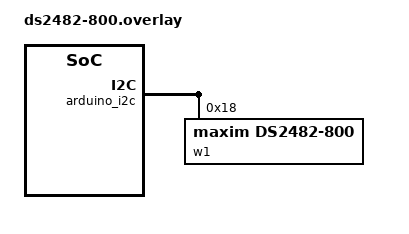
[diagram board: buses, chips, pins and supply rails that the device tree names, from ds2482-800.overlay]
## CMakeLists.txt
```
cmake_minimum_required(VERSION 3.20.0)
find_package(Zephyr REQUIRED HINTS $ENV{ZEPHYR_BASE})
project(scanner)

target_sources(app PRIVATE src/main.c)
```

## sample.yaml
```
sample:
  name: 1-Wire scanner sample

common:
  harness: console

tests:
  sample.drivers.w1.scanner.ds2482-800:
    depends_on: arduino_i2c
    extra_args: DTC_OVERLAY_FILE=ds2482-800.overlay
    platform_allow: nrf52840dk_nrf52840
    harness_config:
      type: one_line
      regex:
        - "Number of devices found on bus: .*"
      fixture: w1_scanner_ds2482_800
  sample.drivers.w1.scanner.ds2484:
    depends_on: arduino_i2c
    extra_args: DTC_OVERLAY_FILE=ds2484.overlay
    platform_allow: nrf52840dk_nrf52840 nucleo_g0b1re
    harness_config:
      type: one_line
      regex:
        - "Number of devices found on bus: .*"
      fixture: w1_scanner_ds2484
  samples.drivers.w1.scanner.ds2485:
    depends_on: arduino_i2c
    extra_args: DTC_OVERLAY_FILE=ds2485.overlay
    platform_allow: nrf52840dk_nrf52840 nucleo_g0b1re
    harness_config:
      type: one_line
      regex:
        - "Number of devices found on bus: .*"
      fixture: w1_scanner_ds2485
  samples.drivers.w1.scanner.w1_serial:
    depends_on: arduino_serial
    extra_args: DTC_OVERLAY_FILE=w1_serial.overlay
    platform_allow: nrf52840dk_nrf52840 nucleo_g0b1re
    harness_config:
      type: one_line
      regex:
        - "Number of devices found on bus: .*"
      fixture: w1_scanner_w1_serial
```

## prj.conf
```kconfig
# CONFIG_LOG=y
# CONFIG_W1=y
CONFIG_I2C=y
CONFIG_PRINTK=y
# CONFIG_I2C_LOG_LEVEL_OFF=y
```

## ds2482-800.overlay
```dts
&arduino_i2c {
	status = "okay";

	w1@18 {
		compatible = "maxim,ds2482-800";
		reg = <0x18>;

		#address-cells = <1>;
		#size-cells = <0>;

		w1: ch@0 {
			compatible = "maxim,ds2482-800-channel";
			reg = <0>;
		};
	};
};
```

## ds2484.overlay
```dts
&arduino_i2c {
	status = "okay";

	w1: w1@18 {
		compatible = "maxim,ds2484";
		reg = <0x18>;
	};
};
```

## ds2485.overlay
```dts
&arduino_i2c {
	status = "okay";

	w1: w1@40 {
		compatible = "maxim,ds2485";
		reg = <0x40>;
		switching-threshold = "medium";
		active-pull-threshold = "low";
		weak-pullup = "1000";
	};
};
```

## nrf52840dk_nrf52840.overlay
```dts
&i2c0 {
    status = "okay";
    compatible = "nordic,nrf-twim";
    label = "I2C_0";
    pinctrl-0 = <&i2c0_default>;
    pinctrl-1 = <&i2c0_sleep>;
    pinctrl-names = "default", "sleep";
    clock-frequency = <I2C_BITRATE_FAST>;
};
&i2c0_default {
    group1 {
        bias-pull-up;
    };
};



/* 
&pinctrl {
    i2c1_default: i2c1_default{
        group1 {
            psels = <NRF_PSEL(TWIM_SDA, 1, 5)>,
                    <NRF_PSEL(TWIM_SCL, 1, 4)>;
        };
    };

    i2c1_sleep: i2c1_sleep{
        group1 {
            psels = <NRF_PSEL(TWIM_SDA, 1, 5)>,
                    <NRF_PSEL(TWIM_SCL, 1, 4)>;
            low-power-enable;
        };
    };

}; */


&spi1 {
	status = "disabled";
};

&i2c1 {
	status = "disabled";
};
```

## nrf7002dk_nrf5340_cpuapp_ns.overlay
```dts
// To get started, press Ctrl+Space to bring up the completion menu and view the available nodes.

// You can also use the buttons in the sidebar to perform actions on nodes.
// Actions currently available include:

// * Enabling / disabling the node
// * Adding the bus to a bus
// * Removing the node
// * Connecting ADC channels

// For more help, browse the DeviceTree documentation at https://docs.zephyrproject.org/latest/guides/dts/index.html
// You can also visit the nRF DeviceTree extension documentation at https://nrfconnect.github.io/vscode-nrf-connect/devicetree/nrfdevicetree.html
&i2c0 {
    status = "okay";
    compatible = "nordic,nrf-twim";
    label = "I2C_0";
    pinctrl-0 = <&i2c0_default>;
    pinctrl-1 = <&i2c0_sleep>;
    pinctrl-names = "default", "sleep";
};
&i2c1 {
    status = "disabled";
};

&pinctrl {
    i2c0_default: i2c0_default {
        group1 {
            psels = <NRF_PSEL(TWIM_SCL, 0, 26)>, <NRF_PSEL(TWIM_SDA, 0, 27)>;
        };
    };

    i2c0_sleep: i2c0_sleep {
        group1 {
            psels = <NRF_PSEL(TWIM_SCL, 0, 26)>, <NRF_PSEL(TWIM_SDA, 0, 27)>;
        };
    };
};
```

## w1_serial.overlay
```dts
&arduino_serial {
	status = "okay";

	w1: w1 {
		compatible = "zephyr,w1-serial";
	};
};
```

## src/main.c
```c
#include <zephyr/kernel.h>
#include <zephyr/sys/printk.h>
#include <zephyr/devicetree.h>
#include <zephyr/drivers/i2c.h>
#include <zephyr/drivers/gpio.h>

const struct device *i2c_dev = DEVICE_DT_GET(DT_NODELABEL(i2c0));

int main()
{
	printk("The I2C scanner started\n");
	int error;
	if (!device_is_ready(i2c_dev))
	{
		printk("I2C device is not ready\r\n");
		return 0;
	}

	int count = 0;
	for (uint8_t i = 0x01; i <= 0x7F; i++)
	{
		struct i2c_msg msgs[1];
		uint8_t dst;

		msgs[0].buf = &dst;
		msgs[0].len = 0U;
		msgs[0].flags = I2C_MSG_READ | I2C_MSG_STOP;

		error = i2c_transfer(i2c_dev, &msgs[0], 1, i);
		if (error == 0)
		{
			printk("0x%2x FOUND\n", i);
			// printk("%d FOUND\n", i);
			count++;
		}
		k_msleep(100);
	}
	printk("%d devices found on the bus\n", count);
}
/* 
#include <zephyr/kernel.h>
#include <zephyr/sys/printk.h>																						
#include <zephyr/devicetree.h>
#include <zephyr/drivers/i2c.h>
#include <zephyr/drivers/gpio.h>
const struct device *i2c_dev = DEVICE_DT_GET(DT_NODELABEL(i2c0));

int main()
{
	printk("The I2C scanner started\n");
	int error;
	if (!device_is_ready(i2c_dev))
	{
		printk("I2C device is not ready\r\n");
		return 0;
	}
	// int count = 0;
	uint8_t data = {0};
	for (uint8_t i = 1; i <= 127; i++)
	{
		error = i2c_read(i2c_dev, &data, 1 ,i);
		if (error == 0)
		{
			printk("I2C device address %d \n\r", i2c_dev);
		}
	}
} */
	/*
	#include <zephyr/kernel.h>
	#include <zephyr/sys/printk.h>
	#include <zephyr/drivers/i2c.h>

	// #define MY_I2C DT_ALIAS(i2c0)

	void scan_i2c_bus(const struct device *dev, int i2cbus)
	{
		printk(" Scanning I2C_%u bus: \n", i2cbus);

		for (uint8_t addr = 0; addr < 128; addr++)
		{
			struct i2c_msg msg = {
					.buf = NULL,
					.len = 0,
					.flags = I2C_MSG_WRITE};

			int ret = i2c_transfer(dev, &msg, 1, addr);
			if (ret == 0)
				printk("Found device at address 0x%2x \n", addr);
		}
	}

	void main(void){
		const struct device *devi2c = DEVICE_DT_GET(DT_NODELABEL(i2c0));
		if (!devi2c)
		{
			printk("Could not get I2C device\n");
			return;
		}
		scan_i2c_bus(devi2c, 1);
	} */
```
